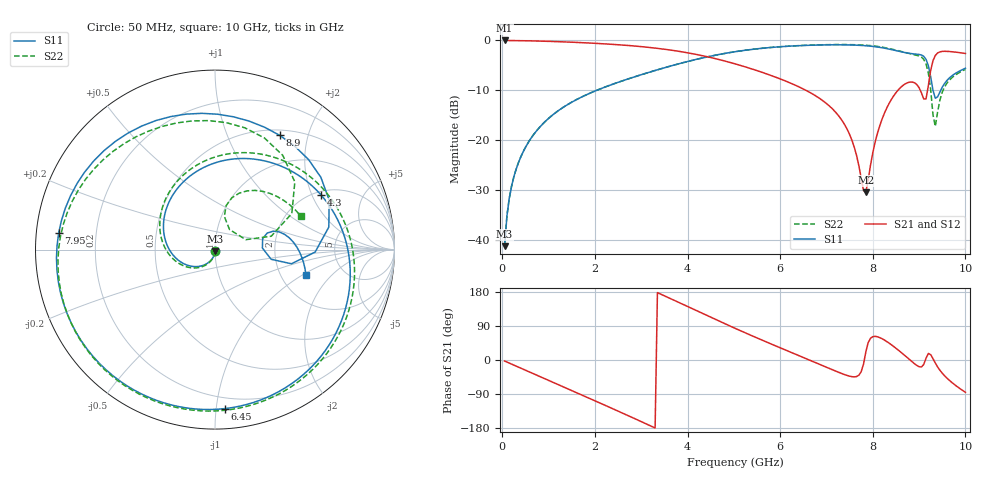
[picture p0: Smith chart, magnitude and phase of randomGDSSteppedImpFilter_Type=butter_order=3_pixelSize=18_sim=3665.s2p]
! freq	dB(S11)	phase(S11)	dB(S12)	phase(S12)
!  dB(S21)	phase(S21)	dB(S22)	phase(S22)
!S-par simulation data
#  GHz  S  DB  R 50
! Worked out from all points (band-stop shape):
!   200 points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, 50 MHz to 10 GHz, reference 50 ohm
!   highest |S21| = -0.01 dB at 50 MHz (marker M1); lowest = -30.4 dB at 7.85 GHz (marker M2)
!   |S21| within 3 dB of the highest: start of sweep to 4.297 GHz; 9.351 GHz to end of sweep
!   lowest |S11| = -41.2 dB at 50 MHz (marker M3), VSWR 1.02, Z = 50 - j0.875 ohm
!   |S11| at or under -10 dB: start of sweep to 2.034 GHz; 9.301 GHz to 9.466 GHz (165.2 MHz wide, 1.76 % of centre)
!   |S22| runs from -41.1 to -0.8 dB; largest |S21 - S12| = 0
!   S11 on the Smith chart (normalised r, x): 50 MHz: 1.00, -0.02; 4.3 GHz: 2.13, +2.34; 6.45 GHz: 0.13, -1.06; 7.95 GHz: 0.07, +0.05; 8.9 GHz: 0.57, +1.56; 10 GHz: 2.74, -1.08
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0.05  -41.15 -86.6  -0.01 -2.7  -0.01 -2.7  -41.06 -86.9
0.2  -29.17 -100.3  -0.03 -10.8  -0.03 -10.8  -29.17 -99.4
0.5  -21.40 -118.3  -0.07 -26.9  -0.07 -26.9  -21.38 -116.2
1.15  -14.46 -155.1  -0.24 -61.8  -0.24 -61.8  -14.46 -150.1
1.75  -11.16 171.2  -0.46 -94.1  -0.46 -94.1  -11.16 178.7
2.65  -7.91 120.6  -0.97 -143.1  -0.97 -143.1  -7.91 131.2
3.4  -5.74 78.1  -1.65 175.0  -1.65 175.0  -5.75 89.9
4.3  -3.55 27.4  -3.02 124.0  -3.02 124.0  -3.56 39.0
5.05  -2.23 -13.6  -4.75 82.3  -4.75 82.3  -2.23 -2.9
5.7  -1.50 -47.6  -6.67 47.8  -6.67 47.8  -1.49 -37.7
6.45  -1.04 -86.5  -9.49 9.3  -9.49 9.3  -1.02 -76.6
6.7  -0.95 -99.9  -10.71 -3.5  -10.71 -3.5  -0.93 -89.8
7.4  -0.89 -142.3  -16.97 -38.9  -16.97 -38.9  -0.83 -129.6
7.85  -1.07 -176.9  -30.41 21.1  -30.41 21.1  -0.97 -160.4
7.95  -1.15 174.1  -25.02 57.2  -25.02 57.2  -1.05 -168.2
8.35  -1.73 132.5  -12.65 44.8  -12.65 44.8  -1.61 156.5
8.9  -2.72 60.5  -8.46 -9.7  -8.46 -9.7  -2.86 92.9
9.15  -3.79 11.2  -11.70 4.8  -11.70 4.8  -4.68 40.3
9.25  -7.27 -10.5  -6.04 14.1  -6.04 14.1  -9.84 13.4
9.35  -11.56 1.9  -3.02 -7.9  -3.02 -7.9  -17.20 54.1
9.6  -8.03 12.4  -2.19 -47.7  -2.19 -47.7  -8.57 61.3
10  -5.57 -15.7  -2.62 -85.2  -2.62 -85.2  -5.80 21.6
